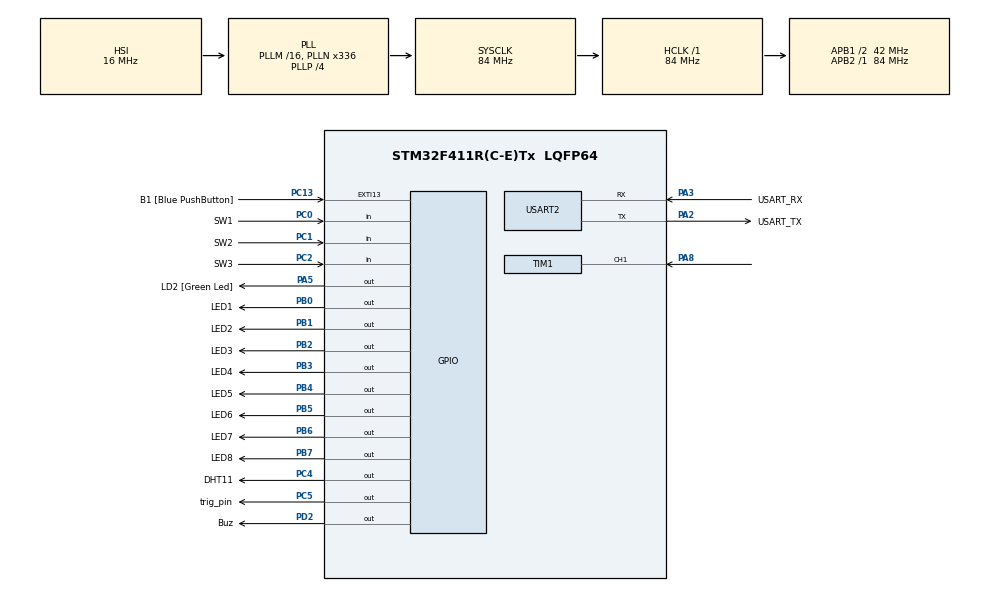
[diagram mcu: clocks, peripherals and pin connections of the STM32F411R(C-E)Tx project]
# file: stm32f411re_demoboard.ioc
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Mcu.Family=STM32F4
Mcu.Name=STM32F411R(C-E)Tx
Mcu.Package=LQFP64
NVIC.PriorityGroup=NVIC_PRIORITYGROUP_0
NVIC.TIM1_BRK_TIM9_IRQn=true\:0\:0\:false\:true\:true\:1\:true\:true
NVIC.TIM1_CC_IRQn=true\:0\:0\:false\:true\:true\:2\:true\:true
NVIC.TIM1_TRG_COM_TIM11_IRQn=true\:0\:0\:false\:true\:true\:3\:true\:true
NVIC.TIM1_UP_TIM10_IRQn=true\:0\:0\:false\:true\:true\:4\:true\:true
PA13.GPIO_Label=TMS
PA13.Mode=Serial_Wire
PA13.Signal=SYS_JTMS-SWDIO
PA14.GPIO_Label=TCK
PA14.Mode=Serial_Wire
PA14.Signal=SYS_JTCK-SWCLK
PA2.GPIO_Label=USART_TX
PA2.Mode=Asynchronous
PA2.Signal=USART2_TX
PA3.GPIO_Label=USART_RX
PA3.Mode=Asynchronous
PA3.Signal=USART2_RX
PA5.GPIO_Label=LD2 [Green Led]
PA5.Signal=GPIO_Output
PA8.Signal=S_TIM1_CH1
PB0.GPIO_Label=LED1
PB0.Signal=GPIO_Output
PB1.GPIO_Label=LED2
PB1.Signal=GPIO_Output
PB2.GPIO_Label=LED3
PB2.Signal=GPIO_Output
PB3.GPIO_Label=LED4
PB3.Signal=GPIO_Output
PB4.GPIO_Label=LED5
PB4.Signal=GPIO_Output
PB5.GPIO_Label=LED6
PB5.Signal=GPIO_Output
PB6.GPIO_Label=LED7
PB6.Signal=GPIO_Output
PB7.GPIO_Label=LED8
PB7.Signal=GPIO_Output
PC0.GPIO_Label=SW1
PC0.Signal=GPIO_Input
PC1.GPIO_Label=SW2
PC1.Signal=GPIO_Input
PC13-ANTI_TAMP.GPIO_Label=B1 [Blue PushButton]
PC13-ANTI_TAMP.GPIO_ModeDefaultEXTI=GPIO_MODE_IT_FALLING
PC13-ANTI_TAMP.Signal=GPXTI13
PC14-OSC32_IN.Mode=LSE-External-Oscillator
PC14-OSC32_IN.Signal=RCC_OSC32_IN
PC15-OSC32_OUT.Mode=LSE-External-Oscillator
PC15-OSC32_OUT.Signal=RCC_OSC32_OUT
PC2.GPIO_Label=SW3
PC2.Signal=GPIO_Input
PC4.GPIO_Label=DHT11
PC4.Signal=GPIO_Output
PC5.GPIO_Label=trig_pin
PC5.Signal=GPIO_Output
PD2.GPIO_Label=Buz
PD2.Signal=GPIO_Output
PH0\ -\ OSC_IN.Mode=HSE-External-Clock-Source
PH0\ -\ OSC_IN.Signal=RCC_OSC_IN
PH1\ -\ OSC_OUT.Mode=HSE-External-Clock-Source
PH1\ -\ OSC_OUT.Signal=RCC_OSC_OUT
ProjectManager.HeapSize=0x200
ProjectManager.StackSize=0x400
ProjectManager.TargetToolchain=STM32CubeIDE
RCC.48MHZClocksFreq_Value=84000000
RCC.AHBFreq_Value=84000000
RCC.APB1CLKDivider=RCC_HCLK_DIV2
RCC.APB1Freq_Value=42000000
RCC.APB1TimFreq_Value=84000000
RCC.APB2Freq_Value=84000000
RCC.APB2TimFreq_Value=84000000
RCC.CortexFreq_Value=84000000
RCC.FLatency-AdvancedSettings=FLASH_LATENCY_2
RCC.HCLKFreq_Value=84000000
RCC.HSE_VALUE=8000000
RCC.HSI_VALUE=16000000
RCC.PLLN=336
RCC.PLLP=RCC_PLLP_DIV4
RCC.SYSCLKFreq_VALUE=84000000
RCC.SYSCLKSource=RCC_SYSCLKSOURCE_PLLCLK
RCC.VCOOutputFreq_Value=336000000
SH.S_TIM1_CH1.0=TIM1_CH1,Input_Capture1_from_TI1
TIM1.Channel-Input_Capture1_from_TI1=TIM_CHANNEL_1
TIM1.ICPolarity_CH1=TIM_INPUTCHANNELPOLARITY_BOTHEDGE
TIM1.Prescaler=84-1
TIM11.Period=10000
TIM11.Prescaler=84-1
USART2.VirtualMode=VM_ASYNC
VP_TIM11_VS_ClockSourceINT.Mode=Enable_Timer
VP_TIM1_VS_ClockSourceINT.Mode=Internal
board=NUCLEO-F411RE

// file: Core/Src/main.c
/* USER CODE BEGIN Header */
/**
  ******************************************************************************
  * @file           : main.c
  * @brief          : Main program body
  ******************************************************************************
  * @attention
  *
  * <h2><center>&copy; Copyright (c) 2021 STMicroelectronics.
  * All rights reserved.</center></h2>
  *
  * This software component is licensed by ST under BSD 3-Clause license,
  * the "License"; You may not use this file except in compliance with the
  * License. You may obtain a copy of the License at:
  *                        opensource.org/licenses/BSD-3-Clause
  *
  ******************************************************************************
  */
/* USER CODE END Header */
#include "main.h"

/* USER CODE BEGIN Includes */
#include "led_onoff.h"
#include "DHT11.h"

/* USER CODE END Includes */

/* USER CODE BEGIN PD */
extern void demoboard_led2_onoff_systick();
extern void systick_time(uint16_t *ms);

extern void DHT11_main(void);
extern void DHT11_processing(void);

extern void ultrasonic_processing();
extern void ultrasonic_tapeline();

void delay_us(unsigned long us);
/* USER CODE END PD */

TIM_HandleTypeDef htim1;
TIM_HandleTypeDef htim11;

UART_HandleTypeDef huart2;

/* USER CODE BEGIN PV */
volatile int Tms_counter=0;
volatile int TIM11_10ms_counter=0;
volatile int TIM11_10ms_ultrasonic_counter = 0;
volatile int TIM11_10ms_buzzer_counter = 0;
volatile int TIM11_10ms_LED_counter = 0;
/* USER CODE END PV */

void SystemClock_Config(void);
static void MX_GPIO_Init(void);
static void MX_USART2_UART_Init(void);
static void MX_TIM1_Init(void);
static void MX_TIM11_Init(void);
static void MX_NVIC_Init(void);

/* USER CODE BEGIN 0 */

//----------  printf start ----------
#ifdef __GNUC__
/* With GCC, small printf (option LD Linker->Libraries->Small printf
   set to 'Yes') calls __io_putchar() */
#define PUTCHAR_PROTOTYPE int __io_putchar(int ch)
#else
#define PUTCHAR_PROTOTYPE int fputc(int ch, FILE *f)
#endif /* __GNUC__ */
/**
  * @brief  Retargets the C library printf function to the USART.
  * @param  None
  * @retval None
  */
PUTCHAR_PROTOTYPE   // Add for printf
{
  /* Place your implementation of fputc here */
  /* e.g. write a character to the USART3 and Loop until the end of transmission */
  HAL_UART_Transmit(&huart2, (uint8_t *)&ch, 1, 0xFFFF);

  return ch;
}
//----------  printf end ----------
// call at SysTick_Handler of stm32f4xx_it.c
// auto enter here every 1ms: 1ms interrupt
// ARM core support
void HAL_SYSTICK_Callback(void)
{
	Tms_counter++;
}

// 0.000001 sec 1us
// 0.001    sec 1ms: 1000us
// 0.1      sec : 100,000us
void delay_us(unsigned long us)
{
	__HAL_TIM_SET_COUNTER(&htim1,0);
	while(__HAL_TIM_GET_COUNTER(&htim1) < us)
		;
}
// copy from stm32f4xx_hal_tim.c
//enter here every 10ms
void HAL_TIM_PeriodElapsedCallback(TIM_HandleTypeDef *htim)
{
	if(htim->Instance == TIM11)
	{
		TIM11_10ms_counter++;
		TIM11_10ms_ultrasonic_counter++;
		TIM11_10ms_buzzer_counter++;
		TIM11_10ms_LED_counter++;
	}
}

/* USER CODE END 0 */

int main(void)
{

  /* MCU Configuration--------------------------------------------------------*/

  /* Reset of all peripherals, Initializes the Flash interface and the Systick. */
  HAL_Init();

  /* Configure the system clock */
  SystemClock_Config();

  /* Initialize all configured peripherals */
  MX_GPIO_Init();
  MX_USART2_UART_Init();
  MX_TIM1_Init();
  MX_TIM11_Init();

  /* Initialize interrupts */
  MX_NVIC_Init();
  /* USER CODE BEGIN 2 */
  HAL_TIM_IC_Start_IT(&htim1, TIM_CHANNEL_1);  //for us_delay:DHT11/ultrasonic
  HAL_TIM_Base_Start_IT(&htim11);  // 1.for General TIM every 10ms base
  DHT11_Init();
  /* USER CODE END 2 */

  /* Infinite loop */
  while (1)
  {

    /* USER CODE BEGIN 3 */

//	  demoboard_led2_onoff_hal_delay();
//	  dempboard_led2_button_onoff();
//	  dempboard_led2_togle_button_onoff();
//	  led_blink_down();
//	  led_blink_up();
//	  led_on_up();
//	  led_on_down();
//	  button1_led_all_onoff();

	  //button_control();
	  //demoboard_led2_onoff_systick(int ms);
	  //DHT11_processing();

	  //ultrasonic_processing();
	  ultrasonic_tapeline();
  }
  /* USER CODE END 3 */
}

void SystemClock_Config(void)
{
  RCC_OscInitTypeDef RCC_OscInitStruct = {0};
  RCC_ClkInitTypeDef RCC_ClkInitStruct = {0};

  /** Configure the main internal regulator output voltage
  */
  __HAL_RCC_PWR_CLK_ENABLE();
  __HAL_PWR_VOLTAGESCALING_CONFIG(PWR_REGULATOR_VOLTAGE_SCALE1);
  /** Initializes the RCC Oscillators according to the specified parameters
  * in the RCC_OscInitTypeDef structure.
  */
  RCC_OscInitStruct.OscillatorType = RCC_OSCILLATORTYPE_HSI;
  RCC_OscInitStruct.HSIState = RCC_HSI_ON;
  RCC_OscInitStruct.HSICalibrationValue = RCC_HSICALIBRATION_DEFAULT;
  RCC_OscInitStruct.PLL.PLLState = RCC_PLL_ON;
  RCC_OscInitStruct.PLL.PLLSource = RCC_PLLSOURCE_HSI;
  RCC_OscInitStruct.PLL.PLLM = 16;
  RCC_OscInitStruct.PLL.PLLN = 336;
  RCC_OscInitStruct.PLL.PLLP = RCC_PLLP_DIV4;
  RCC_OscInitStruct.PLL.PLLQ = 4;
  if (HAL_RCC_OscConfig(&RCC_OscInitStruct) != HAL_OK)
  {
    Error_Handler();
  }
  /** Initializes the CPU, AHB and APB buses clocks
  */
  RCC_ClkInitStruct.ClockType = RCC_CLOCKTYPE_HCLK|RCC_CLOCKTYPE_SYSCLK
                              |RCC_CLOCKTYPE_PCLK1|RCC_CLOCKTYPE_PCLK2;
  RCC_ClkInitStruct.SYSCLKSource = RCC_SYSCLKSOURCE_PLLCLK;
  RCC_ClkInitStruct.AHBCLKDivider = RCC_SYSCLK_DIV1;
  RCC_ClkInitStruct.APB1CLKDivider = RCC_HCLK_DIV2;
  RCC_ClkInitStruct.APB2CLKDivider = RCC_HCLK_DIV1;

  if (HAL_RCC_ClockConfig(&RCC_ClkInitStruct, FLASH_LATENCY_2) != HAL_OK)
  {
    Error_Handler();
  }
}

/**
  * @brief NVIC Configuration.
  * @retval None
  */
static void MX_NVIC_Init(void)
{
  /* TIM1_BRK_TIM9_IRQn interrupt configuration */
  HAL_NVIC_SetPriority(TIM1_BRK_TIM9_IRQn, 0, 0);
  HAL_NVIC_EnableIRQ(TIM1_BRK_TIM9_IRQn);
  /* TIM1_CC_IRQn interrupt configuration */
  HAL_NVIC_SetPriority(TIM1_CC_IRQn, 0, 0);
  HAL_NVIC_EnableIRQ(TIM1_CC_IRQn);
  /* TIM1_TRG_COM_TIM11_IRQn interrupt configuration */
  HAL_NVIC_SetPriority(TIM1_TRG_COM_TIM11_IRQn, 0, 0);
  HAL_NVIC_EnableIRQ(TIM1_TRG_COM_TIM11_IRQn);
  /* TIM1_UP_TIM10_IRQn interrupt configuration */
  HAL_NVIC_SetPriority(TIM1_UP_TIM10_IRQn, 0, 0);
  HAL_NVIC_EnableIRQ(TIM1_UP_TIM10_IRQn);
}

static void MX_TIM1_Init(void)
{

  TIM_ClockConfigTypeDef sClockSourceConfig = {0};
  TIM_MasterConfigTypeDef sMasterConfig = {0};
  TIM_IC_InitTypeDef sConfigIC = {0};

  htim1.Instance = TIM1;
  htim1.Init.Prescaler = 84-1;
  htim1.Init.CounterMode = TIM_COUNTERMODE_UP;
  htim1.Init.Period = 65535;
  htim1.Init.ClockDivision = TIM_CLOCKDIVISION_DIV1;
  htim1.Init.RepetitionCounter = 0;
  htim1.Init.AutoReloadPreload = TIM_AUTORELOAD_PRELOAD_DISABLE;
  if (HAL_TIM_Base_Init(&htim1) != HAL_OK)
  {
    Error_Handler();
  }
  sClockSourceConfig.ClockSource = TIM_CLOCKSOURCE_INTERNAL;
  if (HAL_TIM_ConfigClockSource(&htim1, &sClockSourceConfig) != HAL_OK)
  {
    Error_Handler();
  }
  if (HAL_TIM_IC_Init(&htim1) != HAL_OK)
  {
    Error_Handler();
  }
  sMasterConfig.MasterOutputTrigger = TIM_TRGO_RESET;
  sMasterConfig.MasterSlaveMode = TIM_MASTERSLAVEMODE_DISABLE;
  if (HAL_TIMEx_MasterConfigSynchronization(&htim1, &sMasterConfig) != HAL_OK)
  {
    Error_Handler();
  }
  sConfigIC.ICPolarity = TIM_INPUTCHANNELPOLARITY_BOTHEDGE;
  sConfigIC.ICSelection = TIM_ICSELECTION_DIRECTTI;
  sConfigIC.ICPrescaler = TIM_ICPSC_DIV1;
  sConfigIC.ICFilter = 0;
  if (HAL_TIM_IC_ConfigChannel(&htim1, &sConfigIC, TIM_CHANNEL_1) != HAL_OK)
  {
    Error_Handler();
  }

}

static void MX_TIM11_Init(void)
{

  htim11.Instance = TIM11;
  htim11.Init.Prescaler = 84-1;
  htim11.Init.CounterMode = TIM_COUNTERMODE_UP;
  htim11.Init.Period = 10000;
  htim11.Init.ClockDivision = TIM_CLOCKDIVISION_DIV1;
  htim11.Init.AutoReloadPreload = TIM_AUTORELOAD_PRELOAD_DISABLE;
  if (HAL_TIM_Base_Init(&htim11) != HAL_OK)
  {
    Error_Handler();
  }

}

static void MX_USART2_UART_Init(void)
{

  huart2.Instance = USART2;
  huart2.Init.BaudRate = 115200;
  huart2.Init.WordLength = UART_WORDLENGTH_8B;
  huart2.Init.StopBits = UART_STOPBITS_1;
  huart2.Init.Parity = UART_PARITY_NONE;
  huart2.Init.Mode = UART_MODE_TX_RX;
  huart2.Init.HwFlowCtl = UART_HWCONTROL_NONE;
  huart2.Init.OverSampling = UART_OVERSAMPLING_16;
  if (HAL_UART_Init(&huart2) != HAL_OK)
  {
    Error_Handler();
  }

}

static void MX_GPIO_Init(void)
{
  GPIO_InitTypeDef GPIO_InitStruct = {0};

  /* GPIO Ports Clock Enable */
  __HAL_RCC_GPIOC_CLK_ENABLE();
  __HAL_RCC_GPIOH_CLK_ENABLE();
  __HAL_RCC_GPIOA_CLK_ENABLE();
  __HAL_RCC_GPIOB_CLK_ENABLE();
  __HAL_RCC_GPIOD_CLK_ENABLE();

  /*Configure GPIO pin Output Level */
  HAL_GPIO_WritePin(LD2_GPIO_Port, LD2_Pin, GPIO_PIN_RESET);

  /*Configure GPIO pin Output Level */
  HAL_GPIO_WritePin(GPIOC, DHT11_Pin|trig_pin_Pin, GPIO_PIN_RESET);

  /*Configure GPIO pin Output Level */
  HAL_GPIO_WritePin(GPIOB, LED1_Pin|LED2_Pin|LED3_Pin|LED4_Pin
                          |LED5_Pin|LED6_Pin|LED7_Pin|LED8_Pin, GPIO_PIN_RESET);

  /*Configure GPIO pin Output Level */
  HAL_GPIO_WritePin(Buz_GPIO_Port, Buz_Pin, GPIO_PIN_RESET);

  /*Configure GPIO pin : B1_Pin */
  GPIO_InitStruct.Pin = B1_Pin;
  GPIO_InitStruct.Mode = GPIO_MODE_IT_FALLING;
  GPIO_InitStruct.Pull = GPIO_NOPULL;
  HAL_GPIO_Init(B1_GPIO_Port, &GPIO_InitStruct);

  /*Configure GPIO pins : SW1_Pin SW2_Pin SW3_Pin */
  GPIO_InitStruct.Pin = SW1_Pin|SW2_Pin|SW3_Pin;
  GPIO_InitStruct.Mode = GPIO_MODE_INPUT;
  GPIO_InitStruct.Pull = GPIO_NOPULL;
  HAL_GPIO_Init(GPIOC, &GPIO_InitStruct);

  /*Configure GPIO pin : LD2_Pin */
  GPIO_InitStruct.Pin = LD2_Pin;
  GPIO_InitStruct.Mode = GPIO_MODE_OUTPUT_PP;
  GPIO_InitStruct.Pull = GPIO_NOPULL;
  GPIO_InitStruct.Speed = GPIO_SPEED_FREQ_LOW;
  HAL_GPIO_Init(LD2_GPIO_Port, &GPIO_InitStruct);

  /*Configure GPIO pins : DHT11_Pin trig_pin_Pin */
  GPIO_InitStruct.Pin = DHT11_Pin|trig_pin_Pin;
  GPIO_InitStruct.Mode = GPIO_MODE_OUTPUT_PP;
  GPIO_InitStruct.Pull = GPIO_NOPULL;
  GPIO_InitStruct.Speed = GPIO_SPEED_FREQ_LOW;
  HAL_GPIO_Init(GPIOC, &GPIO_InitStruct);

  /*Configure GPIO pins : LED1_Pin LED2_Pin LED3_Pin LED4_Pin
                           LED5_Pin LED6_Pin LED7_Pin LED8_Pin */
  GPIO_InitStruct.Pin = LED1_Pin|LED2_Pin|LED3_Pin|LED4_Pin
                          |LED5_Pin|LED6_Pin|LED7_Pin|LED8_Pin;
  GPIO_InitStruct.Mode = GPIO_MODE_OUTPUT_PP;
  GPIO_InitStruct.Pull = GPIO_NOPULL;
  GPIO_InitStruct.Speed = GPIO_SPEED_FREQ_LOW;
  HAL_GPIO_Init(GPIOB, &GPIO_InitStruct);

  /*Configure GPIO pin : Buz_Pin */
  GPIO_InitStruct.Pin = Buz_Pin;
  GPIO_InitStruct.Mode = GPIO_MODE_OUTPUT_PP;
  GPIO_InitStruct.Pull = GPIO_NOPULL;
  GPIO_InitStruct.Speed = GPIO_SPEED_FREQ_LOW;
  HAL_GPIO_Init(Buz_GPIO_Port, &GPIO_InitStruct);

}

void Error_Handler(void)
{
  __disable_irq();
  while (1)
  {
  }
}

/************************ (C) COPYRIGHT STMicroelectronics *****END OF FILE****/
